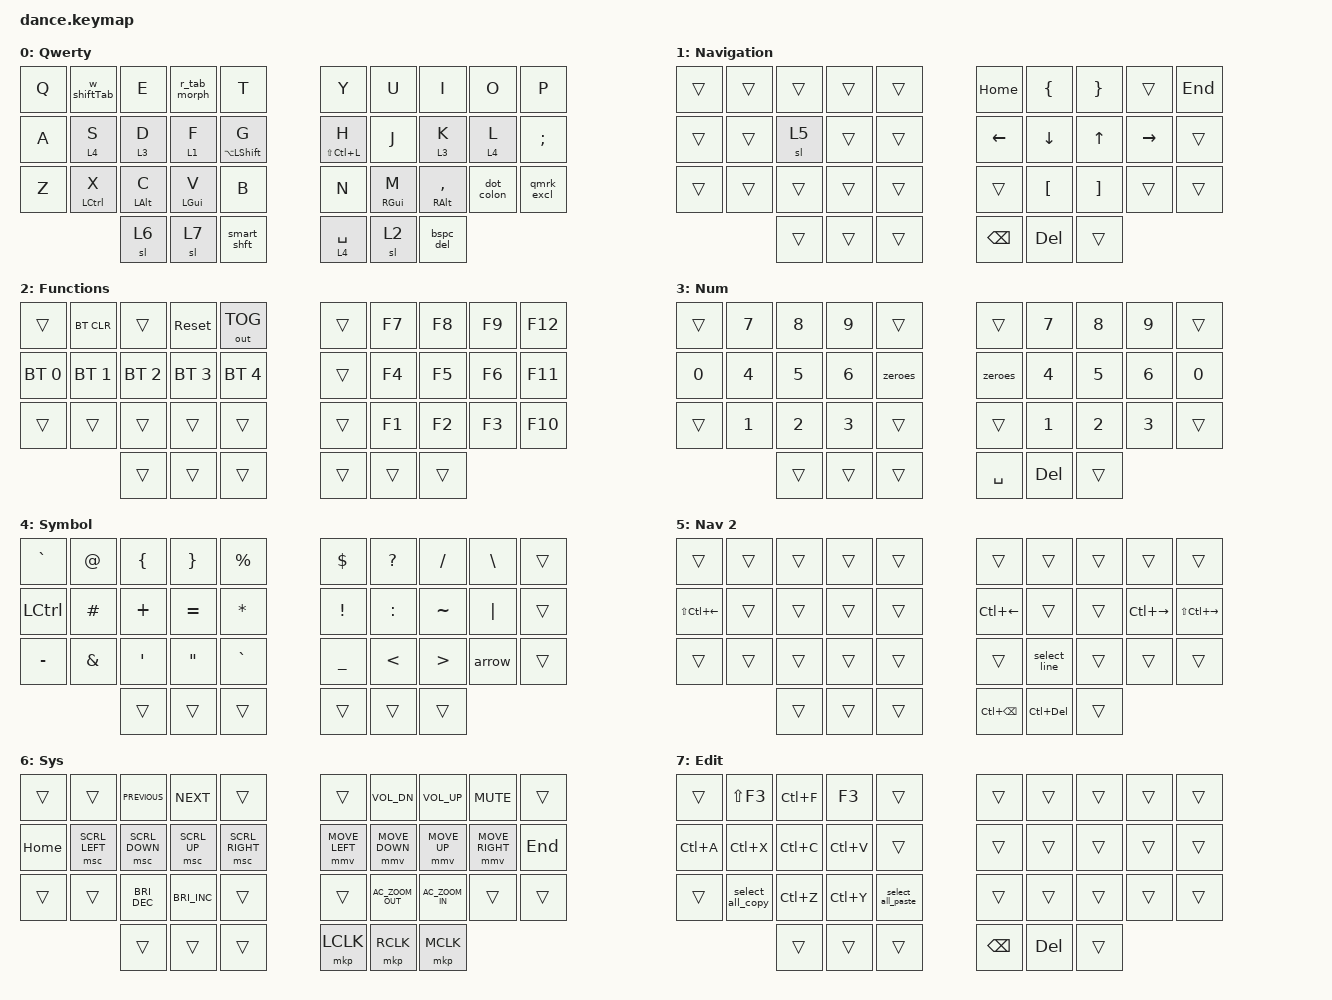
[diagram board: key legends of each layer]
/*
 * Copyright (c) 2020 The ZMK Contributors
 *
 * SPDX-License-Identifier: MIT
 */
/* #include <dt-bindings/zmk/mouse.h> */

#include <behaviors/mouse_keys.dtsi>
#include <dt-bindings/zmk/mouse.h>
#include <behaviors.dtsi>
#include <dt-bindings/zmk/bt.h>
#include <dt-bindings/zmk/keys.h>
#include <dt-bindings/zmk/outputs.h>
#include <dt-bindings/zmk/pointing.h>

#define DEFAULT 0
#define COLEMAK 1
#define NUM 2
#define NAV 3
#define FUN 4

&lt { quick-tap-ms = <50>; };


/ {
    conditional_layers { compatible = "zmk,conditional-layers"; };

    behaviors {
        bspc_del: backspace_delete {
            compatible = "zmk,behavior-mod-morph";
            label = "BACKSPACE_DELETE";
            #binding-cells = <0>;
            bindings = <&kp BACKSPACE>, <&kp DELETE>;

            mods = <(MOD_LSFT|MOD_RSFT)>;
            keep-mods = <(MOD_RSFT)>;
        };

        smart_shft: smart_shift {
            compatible = "zmk,behavior-mod-morph";
            label = "SMART_SHIFT";
            #binding-cells = <0>;
            bindings = <&sk LSHFT>, <&caps_word>;

            mods = <(MOD_LSFT)>;
        };

        comma_semi: comma_semi {
            compatible = "zmk,behavior-mod-morph";
            label = "COMMA_SEMI";
            #binding-cells = <0>;
            bindings = <&kp COMMA>, <&kp SEMI>;

            mods = <(MOD_LSFT)>;
        };

        dot_colon: dot_colon {
            compatible = "zmk,behavior-mod-morph";
            label = "DOT_COLON";
            #binding-cells = <0>;
            bindings = <&kp DOT>, <&kp COLON>;

            mods = <(MOD_LSFT)>;
        };

        qmrk_excl: qmrk_excl {
            compatible = "zmk,behavior-mod-morph";
            label = "QUESTION_EXCLAMATION";
            #binding-cells = <0>;
            bindings = <&kp QMARK>, <&kp EXCL>;

            mods = <(MOD_LSFT)>;
        };

        slh_morph: slh_morph {
            compatible = "zmk,behavior-mod-morph";
            label = "SLASH_MORPH";
            #binding-cells = <0>;
            bindings = <&kp FSLH>, <&kp BSLH>;

            mods = <(MOD_LSFT)>;
        };

        amps_morph: amps_morph {
            compatible = "zmk,behavior-mod-morph";
            label = "AMPERSAND_MORPH";
            #binding-cells = <0>;
            bindings = <&kp AMPS>, <&kp PIPE>;

            mods = <(MOD_LSFT)>;
        };

        hold_tap: hold_tap {
            compatible = "zmk,behavior-hold-tap";
            label = "HOLD_TAP";
            bindings = <&kp>, <&kp>;

            #binding-cells = <2>;
            tapping-term-ms = <200>;
            flavor = "balanced";
            quick-tap-ms = <50>;
        };

        r_tab_morph: r_tab_morph {
            compatible = "zmk,behavior-mod-morph";
            label = "R_TAB_MORPH";
            #binding-cells = <0>;
            bindings = <&kp R>, <&kp TAB>;

            mods = <(MOD_LALT)>;
            keep-mods = <(MOD_LALT)>;
        };

        w_shiftTab: w_shiftTab {
            compatible = "zmk,behavior-mod-morph";
            label = "W_SHIFTTAB";
            #binding-cells = <0>;
            bindings = <&kp W>, <&kp LS(TAB)>;

            mods = <(MOD_LALT)>;
            keep-mods = <(MOD_LALT)>;
        };
    };

    combos {
        compatible = "zmk,combos";

        cmb_enter {
            bindings = <&kp RET>;
            key-positions = <27 28>;
            timeout-ms = <75>;
        };

        cmb_bspace {
            bindings = <&kp BACKSPACE>;
            key-positions = <18 17>;
            timeout-ms = <80>;
        };

        cmb_del {
            bindings = <&kp DELETE>;
            key-positions = <8 7>;
            layers = <0>;
        };

        cmb_esc {
            bindings = <&kp ESCAPE>;
            key-positions = <21 22>;
        };

        cmb_question {
            bindings = <&kp QUESTION>;
            key-positions = <6 7>;
        };

        cmb_comma {
            bindings = <&kp COMMA>;
            key-positions = <2 3>;
        };

        cmb_squote {
            bindings = <&kp SINGLE_QUOTE>;
            key-positions = <12 13>;
            layers = <0>;
        };

        cmb_dquote {
            bindings = <&kp DOUBLE_QUOTES>;
            key-positions = <22 23>;
        };

        cmb_ctrl_alt_del {
            bindings = <&kp LC(LA(DELETE))>;
            key-positions = <20 29>;
        };

        cmb_minus {
            bindings = <&kp MINUS>;
            key-positions = <4 5>;
        };

        cmb_equal {
            bindings = <&kp EQUAL>;
            key-positions = <14 15>;
        };

        cmb_underscore {
            bindings = <&kp UNDERSCORE>;
            key-positions = <24 25>;
        };

        cmb_capsword {
            bindings = <&caps_word>;
            key-positions = <13 16>;
        };

        cmb_tab {
            bindings = <&kp TAB>;
            key-positions = <1 2>;
        };

        cmb_dot {
            bindings = <&kp DOT>;
            key-positions = <11 12>;
        };

        cmb_mouse_left {
            bindings = <&mkp LCLK>;
            key-positions = <14 13>;
        };

        cmb_mouse_right {
            bindings = <&mkp RCLK>;
            key-positions = <23 24>;
        };

        combo_mouse_mid {
            bindings = <&mkp MCLK>;
            key-positions = <4 3>;
        };

        SnipTool {
            bindings = <&kp LG(LS(S))>;
            key-positions = <0 4>;
        };

        LeftBracket {
            bindings = <&kp LEFT_BRACKET>;
            key-positions = <1 3>;
        };

        RightBracket {
            bindings = <&kp RIGHT_BRACKET>;
            key-positions = <8 6>;
        };

        LeftParentesis {
            bindings = <&kp LEFT_PARENTHESIS>;
            key-positions = <21 23>;
        };

        RightParentesis {
            bindings = <&kp RIGHT_PARENTHESIS>;
            key-positions = <28 26>;
        };

        CapsLock {
            bindings = <&kp CAPS>;
            key-positions = <15 14>;
        };

        save {
            bindings = <&kp LC(S)>;
            key-positions = <13 12>;
            layers = <7>;
        };
    };

    macros {
        arrow: arrow {
            compatible = "zmk,behavior-macro";
            #binding-cells = <0>;
            bindings = <&kp MINUS &kp GT>;
            label = "ARROW";
        };

        zeroes: zeroes {
            compatible = "zmk,behavior-macro";
            #binding-cells = <0>;
            bindings = <&kp N0 &kp N0 &kp N0>;
            label = "ZEROES";
        };

        select_line: select_line {
            compatible = "zmk,behavior-macro";
            #binding-cells = <0>;
            bindings = <&kp HOME &kp LS(END)>;
            label = "SELECT_LINE";
        };

        select_all_copy: select_all_copy {
            compatible = "zmk,behavior-macro";
            #binding-cells = <0>;
            bindings = <&kp LC(A) &kp LC(C)>;
            label = "SELECT_ALL_COPY";
        };

        select_all_paste: select_all_paste {
            compatible = "zmk,behavior-macro";
            #binding-cells = <0>;
            bindings = <&kp LC(A) &kp LC(V)>;
            label = "SELECT_ALL_PASTE";
        };
    };

    keymap {
        compatible = "zmk,keymap";

        default_layer {
            bindings = <
&kp Q  &w_shiftTab               &kp E                 &r_tab_morph          &kp T                       &kp Y                  &kp U                  &kp I                      &kp O       &kp P
&kp A  &lt 4 S                   &lt 3 D               &lt 1 F               &hold_tap LA(LEFT_SHIFT) G  &hold_tap LS(LC(L)) H  &kp J                  &lt 3 K                    &lt 4 L     &kp SEMI
&kp Z  &hold_tap LEFT_CONTROL X  &hold_tap LEFT_ALT C  &hold_tap LEFT_GUI V  &kp B                       &kp N                  &hold_tap RIGHT_GUI M  &hold_tap RIGHT_ALT COMMA  &dot_colon  &qmrk_excl
                                 &sl 6                 &sl 7                 &smart_shft                 &lt 4 SPACE            &sl 2                  &bspc_del
            >;

            label = "Qwerty";
        };

        nav_layer {
            bindings = <
&trans  &trans  &trans  &trans  &trans  &kp HOME       &kp LEFT_BRACE    &kp RIGHT_BRACE    &trans     &kp END
&trans  &trans  &sl 5   &trans  &trans  &kp LEFT       &kp DOWN          &kp UP             &kp RIGHT  &trans
&trans  &trans  &trans  &trans  &trans  &trans         &kp LEFT_BRACKET  &kp RIGHT_BRACKET  &trans     &trans
                &trans  &trans  &trans  &kp BACKSPACE  &kp DELETE        &trans
            >;

            label = "Navigation";
        };

        fun_layer {
            bindings = <
&trans        &bt BT_CLR    &trans        &sys_reset    &out OUT_TOG  &trans  &kp F7  &kp F8  &kp F9  &kp F12
&bt BT_SEL 0  &bt BT_SEL 1  &bt BT_SEL 2  &bt BT_SEL 3  &bt BT_SEL 4  &trans  &kp F4  &kp F5  &kp F6  &kp F11
&trans        &trans        &trans        &trans        &trans        &trans  &kp F1  &kp F2  &kp F3  &kp F10
                            &trans        &trans        &trans        &trans  &trans  &trans
            >;

            label = "Functions";
        };

        num_layer {
            bindings = <
&trans  &kp N7  &kp N8  &kp N9  &trans   &trans     &kp N7   &kp N8  &kp N9  &trans
&kp N0  &kp N4  &kp N5  &kp N6  &zeroes  &zeroes    &kp N4   &kp N5  &kp N6  &kp N0
&trans  &kp N1  &kp N2  &kp N3  &trans   &trans     &kp N1   &kp N2  &kp N3  &trans
                &trans  &trans  &trans   &kp SPACE  &kp DEL  &trans
            >;

            label = "Num";
        };

        symbol_layer {
            bindings = <
&kp GRAVE  &kp AT_SIGN    &kp LEFT_BRACE  &kp RIGHT_BRACE    &kp PERCENT   &kp DOLLAR       &kp QUESTION   &kp SLASH         &kp BACKSLASH  &trans
&kp LCTRL  &kp HASH       &kp PLUS        &kp EQUAL          &kp ASTERISK  &kp EXCLAMATION  &kp COLON      &kp TILDE         &kp PIPE       &trans
&kp MINUS  &kp AMPERSAND  &kp SQT         &kp DOUBLE_QUOTES  &kp GRAVE     &kp UNDERSCORE   &kp LESS_THAN  &kp GREATER_THAN  &arrow         &trans
                          &trans          &trans             &trans        &trans           &trans         &trans
            >;

            label = "Symbol";
        };

        nav2_layer {
            bindings = <
&trans            &trans  &trans  &trans  &trans  &trans              &trans          &trans  &trans         &trans
&kp LS(LC(LEFT))  &trans  &trans  &trans  &trans  &kp LC(LEFT_ARROW)  &trans          &trans  &kp LC(RIGHT)  &kp LS(LC(RIGHT))
&trans            &trans  &trans  &trans  &trans  &trans              &select_line    &trans  &trans         &trans
                          &trans  &trans  &trans  &kp LC(BACKSPACE)   &kp LC(DELETE)  &trans
            >;

            label = "Nav 2";
        };

        sys_layer {
            bindings = <
&trans    &trans          &kp C_PREVIOUS  &kp C_NEXT            &trans           &trans          &kp C_VOL_DN       &kp C_VOLUME_UP   &kp C_MUTE       &trans
&kp HOME  &msc SCRL_LEFT  &msc SCRL_DOWN  &msc SCRL_UP          &msc SCRL_RIGHT  &mmv MOVE_LEFT  &mmv MOVE_DOWN     &mmv MOVE_UP      &mmv MOVE_RIGHT  &kp END
&trans    &trans          &kp C_BRI_DEC   &kp C_BRIGHTNESS_INC  &trans           &trans          &kp C_AC_ZOOM_OUT  &kp C_AC_ZOOM_IN  &trans           &trans
                          &trans          &trans                &trans           &mkp LCLK       &mkp RCLK          &mkp MCLK
            >;

            label = "Sys";
        };

        edit_layer {
            bindings = <
&trans     &kp LS(F3)        &kp LC(F)  &kp F3     &trans             &trans         &trans   &trans  &trans  &trans
&kp LC(A)  &kp LC(X)         &kp LC(C)  &kp LC(V)  &trans             &trans         &trans   &trans  &trans  &trans
&trans     &select_all_copy  &kp LC(Z)  &kp LC(Y)  &select_all_paste  &trans         &trans   &trans  &trans  &trans
                             &trans     &trans     &trans             &kp BACKSPACE  &kp DEL  &trans
            >;

            label = "Edit";
        };
    };
};
